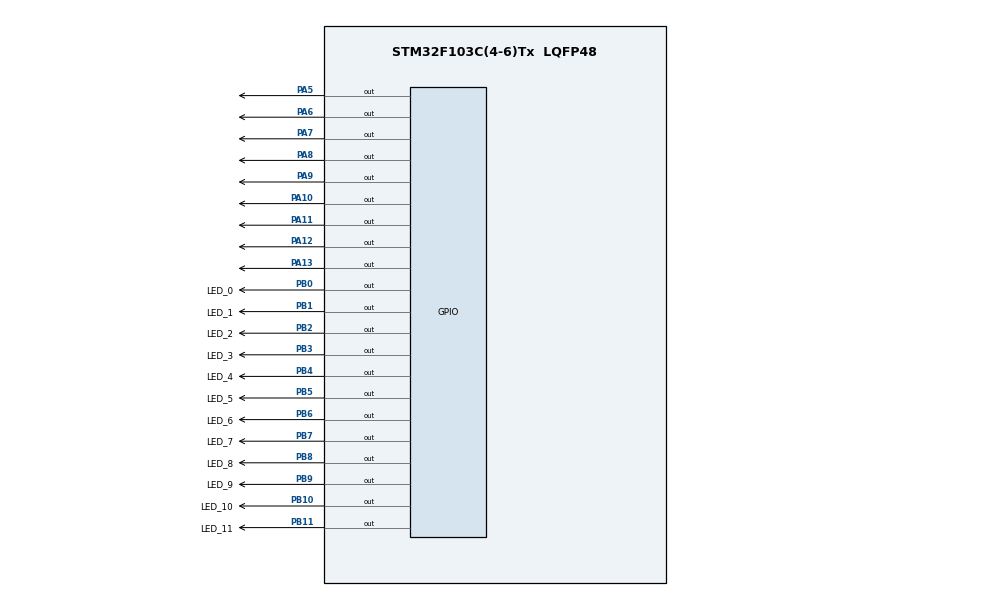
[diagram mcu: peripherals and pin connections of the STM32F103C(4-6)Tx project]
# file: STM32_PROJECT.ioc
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Mcu.Family=STM32F1
Mcu.Name=STM32F103C(4-6)Tx
Mcu.Package=LQFP48
NVIC.PriorityGroup=NVIC_PRIORITYGROUP_4
PA10.Signal=GPIO_Output
PA11.Signal=GPIO_Output
PA12.Signal=GPIO_Output
PA13.Signal=GPIO_Output
PA5.Signal=GPIO_Output
PA6.Signal=GPIO_Output
PA7.Signal=GPIO_Output
PA8.Signal=GPIO_Output
PA9.Signal=GPIO_Output
PB0.GPIO_Label=LED_0
PB0.Signal=GPIO_Output
PB1.GPIO_Label=LED_1
PB1.Signal=GPIO_Output
PB10.GPIO_Label=LED_10
PB10.Signal=GPIO_Output
PB11.GPIO_Label=LED_11
PB11.Signal=GPIO_Output
PB2.GPIO_Label=LED_2
PB2.Signal=GPIO_Output
PB3.GPIO_Label=LED_3
PB3.Signal=GPIO_Output
PB4.GPIO_Label=LED_4
PB4.Signal=GPIO_Output
PB5.GPIO_Label=LED_5
PB5.Signal=GPIO_Output
PB6.GPIO_Label=LED_6
PB6.Signal=GPIO_Output
PB7.GPIO_Label=LED_7
PB7.Signal=GPIO_Output
PB8.GPIO_Label=LED_8
PB8.Signal=GPIO_Output
PB9.GPIO_Label=LED_9
PB9.Signal=GPIO_Output
ProjectManager.HeapSize=0x200
ProjectManager.StackSize=0x400
ProjectManager.TargetToolchain=STM32CubeIDE
RCC.APB1Freq_Value=8000000
RCC.APB2Freq_Value=8000000
VP_SYS_VS_ND.Mode=No_Debug
board=custom

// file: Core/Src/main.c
/* USER CODE BEGIN Header */
/**
  ******************************************************************************
  * @file           : main.c
  * @brief          : Main program body
  ******************************************************************************
  * @attention
  *
  * Copyright (c) 2024 STMicroelectronics.
  * All rights reserved.
  *
  * This software is licensed under terms that can be found in the LICENSE file
  * in the root directory of this software component.
  * If no LICENSE file comes with this software, it is provided AS-IS.
  *
  ******************************************************************************
  */
/* USER CODE END Header */
#include "main.h"

void SystemClock_Config(void);
static void MX_GPIO_Init(void);

/* USER CODE BEGIN 0 */
int hour = 1, min = 59,sec = 0;
int d_hour = 0, d_min = 0, d_sec = 0;
void clearAllClock(){
	HAL_GPIO_WritePin(LED_0_GPIO_Port, LED_0_Pin,RESET);
	HAL_GPIO_WritePin(LED_1_GPIO_Port, LED_1_Pin,RESET);
	HAL_GPIO_WritePin(LED_2_GPIO_Port, LED_2_Pin,RESET);
	HAL_GPIO_WritePin(LED_3_GPIO_Port, LED_3_Pin,RESET);
	HAL_GPIO_WritePin(LED_4_GPIO_Port, LED_4_Pin,RESET);
	HAL_GPIO_WritePin(LED_5_GPIO_Port, LED_5_Pin,RESET);
	HAL_GPIO_WritePin(LED_6_GPIO_Port, LED_6_Pin,RESET);
	HAL_GPIO_WritePin(LED_7_GPIO_Port, LED_7_Pin,RESET);
	HAL_GPIO_WritePin(LED_8_GPIO_Port, LED_8_Pin,RESET);
	HAL_GPIO_WritePin(LED_9_GPIO_Port, LED_9_Pin,RESET);
	HAL_GPIO_WritePin(LED_10_GPIO_Port, LED_10_Pin,RESET);
	HAL_GPIO_WritePin(LED_11_GPIO_Port, LED_11_Pin,RESET);
}
void setNumberOnClock(int num){
	switch(num){
		case 0:
			HAL_GPIO_WritePin(LED_11_GPIO_Port, LED_11_Pin,SET);
			break;
		case 1:
			HAL_GPIO_WritePin(LED_0_GPIO_Port, LED_0_Pin,SET);
			break;
		case 2:
			HAL_GPIO_WritePin(LED_1_GPIO_Port, LED_1_Pin,SET);
			break;
		case 3:
			HAL_GPIO_WritePin(LED_2_GPIO_Port, LED_2_Pin,SET);
			break;
		case 4:
			HAL_GPIO_WritePin(LED_3_GPIO_Port, LED_3_Pin,SET);
			break;
		case 5:
			HAL_GPIO_WritePin(LED_4_GPIO_Port, LED_4_Pin,SET);
			break;
		case 6:
			HAL_GPIO_WritePin(LED_5_GPIO_Port, LED_5_Pin,SET);
			break;
		case 7:
			HAL_GPIO_WritePin(LED_6_GPIO_Port, LED_6_Pin,SET);
			break;
		case 8:
			HAL_GPIO_WritePin(LED_7_GPIO_Port, LED_7_Pin,SET);
			break;
		case 9:
			HAL_GPIO_WritePin(LED_8_GPIO_Port, LED_8_Pin,SET);
			break;
		case 10:
			HAL_GPIO_WritePin(LED_9_GPIO_Port, LED_9_Pin,SET);
			break;
		case 11:
			HAL_GPIO_WritePin(LED_10_GPIO_Port, LED_10_Pin,SET);
			break;
		default:
			break;
	}
}
void clearNumberOnClock(int num){
	switch(num){
			case 0:
				HAL_GPIO_WritePin(LED_0_GPIO_Port, LED_11_Pin,RESET);
				break;
			case 1:
				HAL_GPIO_WritePin(LED_1_GPIO_Port, LED_0_Pin,RESET);
				break;
			case 2:
				HAL_GPIO_WritePin(LED_2_GPIO_Port, LED_1_Pin,RESET);
				break;
			case 3:
				HAL_GPIO_WritePin(LED_3_GPIO_Port, LED_2_Pin,RESET);
				break;
			case 4:
				HAL_GPIO_WritePin(LED_4_GPIO_Port, LED_3_Pin,RESET);
				break;
			case 5:
				HAL_GPIO_WritePin(LED_5_GPIO_Port, LED_4_Pin,RESET);
				break;
			case 6:
				HAL_GPIO_WritePin(LED_6_GPIO_Port, LED_5_Pin,RESET);
				break;
			case 7:
				HAL_GPIO_WritePin(LED_7_GPIO_Port, LED_6_Pin,RESET);
				break;
			case 8:
				HAL_GPIO_WritePin(LED_8_GPIO_Port, LED_7_Pin,RESET);
				break;
			case 9:
				HAL_GPIO_WritePin(LED_9_GPIO_Port, LED_8_Pin,RESET);
				break;
			case 10:
				HAL_GPIO_WritePin(LED_10_GPIO_Port, LED_9_Pin,RESET);
				break;
			case 11:
				HAL_GPIO_WritePin(LED_11_GPIO_Port, LED_10_Pin,RESET);
				break;
			default:
				break;
		}
}
void init_exercise10(){
	d_sec = sec/5;
	d_min = min/5;
	d_hour = hour%12;
	setNumberOnClock(d_sec);
	setNumberOnClock(d_min);
	setNumberOnClock(d_hour);
}
void exercise10_run(){
	sec++;
	if(sec>=60){
		sec = 0;
		min++;
	}
	if(min>=60){
		min = 0;
		hour++;
	}
	if(hour>=24){
		hour = 0;
	}
	if((d_sec == (sec/5)-1)||(sec==0)){
		if((d_sec != d_min)&&(d_sec != d_hour)){
			clearNumberOnClock(d_sec);
		}
		d_sec = sec/5;
	}
	if((d_min == (min/5)-1)||(min==0)){
			if((d_min != d_hour)&&(d_min!=d_hour)){
				clearNumberOnClock(d_min);
			}
			d_min = min/5;
		}
	if((d_hour == (hour%12)-1)||(hour == 0)){
			if((d_hour != d_min)&&(d_hour != d_sec)){
				clearNumberOnClock(d_hour);
			}
			d_hour = hour%12;
		}
	setNumberOnClock(d_sec);
	setNumberOnClock(d_min);
	setNumberOnClock(d_hour);
}
/* USER CODE END 0 */

int main(void)
{

  /* MCU Configuration--------------------------------------------------------*/

  /* Reset of all peripherals, Initializes the Flash interface and the Systick. */
  HAL_Init();

  /* Configure the system clock */
  SystemClock_Config();

  /* Initialize all configured peripherals */
  MX_GPIO_Init();

  /* Infinite loop */
  /* USER CODE BEGIN WHILE */
  init_exercise10();
  while (1)
  {
    /* USER CODE END WHILE */

    /* USER CODE BEGIN 3 */
	  exercise10_run();
	  HAL_Delay(100);
  }
  /* USER CODE END 3 */
}

void SystemClock_Config(void)
{
  RCC_OscInitTypeDef RCC_OscInitStruct = {0};
  RCC_ClkInitTypeDef RCC_ClkInitStruct = {0};

  /** Initializes the RCC Oscillators according to the specified parameters
  * in the RCC_OscInitTypeDef structure.
  */
  RCC_OscInitStruct.OscillatorType = RCC_OSCILLATORTYPE_HSI;
  RCC_OscInitStruct.HSIState = RCC_HSI_ON;
  RCC_OscInitStruct.HSICalibrationValue = RCC_HSICALIBRATION_DEFAULT;
  RCC_OscInitStruct.PLL.PLLState = RCC_PLL_NONE;
  if (HAL_RCC_OscConfig(&RCC_OscInitStruct) != HAL_OK)
  {
    Error_Handler();
  }

  /** Initializes the CPU, AHB and APB buses clocks
  */
  RCC_ClkInitStruct.ClockType = RCC_CLOCKTYPE_HCLK|RCC_CLOCKTYPE_SYSCLK
                              |RCC_CLOCKTYPE_PCLK1|RCC_CLOCKTYPE_PCLK2;
  RCC_ClkInitStruct.SYSCLKSource = RCC_SYSCLKSOURCE_HSI;
  RCC_ClkInitStruct.AHBCLKDivider = RCC_SYSCLK_DIV1;
  RCC_ClkInitStruct.APB1CLKDivider = RCC_HCLK_DIV1;
  RCC_ClkInitStruct.APB2CLKDivider = RCC_HCLK_DIV1;

  if (HAL_RCC_ClockConfig(&RCC_ClkInitStruct, FLASH_LATENCY_0) != HAL_OK)
  {
    Error_Handler();
  }
}

static void MX_GPIO_Init(void)
{
  GPIO_InitTypeDef GPIO_InitStruct = {0};

  /* GPIO Ports Clock Enable */
  __HAL_RCC_GPIOA_CLK_ENABLE();
  __HAL_RCC_GPIOB_CLK_ENABLE();

  /*Configure GPIO pin Output Level */
  HAL_GPIO_WritePin(GPIOA, GPIO_PIN_5|GPIO_PIN_6|GPIO_PIN_7|GPIO_PIN_8
                          |GPIO_PIN_9|GPIO_PIN_10|GPIO_PIN_11|GPIO_PIN_12
                          |GPIO_PIN_13, GPIO_PIN_RESET);

  /*Configure GPIO pin Output Level */
  HAL_GPIO_WritePin(GPIOB, LED_0_Pin|LED_1_Pin|LED_2_Pin|LED_10_Pin
                          |LED_11_Pin|LED_3_Pin|LED_4_Pin|LED_5_Pin
                          |LED_6_Pin|LED_7_Pin|LED_8_Pin|LED_9_Pin, GPIO_PIN_RESET);

  /*Configure GPIO pins : PA5 PA6 PA7 PA8
                           PA9 PA10 PA11 PA12
                           PA13 */
  GPIO_InitStruct.Pin = GPIO_PIN_5|GPIO_PIN_6|GPIO_PIN_7|GPIO_PIN_8
                          |GPIO_PIN_9|GPIO_PIN_10|GPIO_PIN_11|GPIO_PIN_12
                          |GPIO_PIN_13;
  GPIO_InitStruct.Mode = GPIO_MODE_OUTPUT_PP;
  GPIO_InitStruct.Pull = GPIO_NOPULL;
  GPIO_InitStruct.Speed = GPIO_SPEED_FREQ_LOW;
  HAL_GPIO_Init(GPIOA, &GPIO_InitStruct);

  /*Configure GPIO pins : LED_0_Pin LED_1_Pin LED_2_Pin LED_10_Pin
                           LED_11_Pin LED_3_Pin LED_4_Pin LED_5_Pin
                           LED_6_Pin LED_7_Pin LED_8_Pin LED_9_Pin */
  GPIO_InitStruct.Pin = LED_0_Pin|LED_1_Pin|LED_2_Pin|LED_10_Pin
                          |LED_11_Pin|LED_3_Pin|LED_4_Pin|LED_5_Pin
                          |LED_6_Pin|LED_7_Pin|LED_8_Pin|LED_9_Pin;
  GPIO_InitStruct.Mode = GPIO_MODE_OUTPUT_PP;
  GPIO_InitStruct.Pull = GPIO_NOPULL;
  GPIO_InitStruct.Speed = GPIO_SPEED_FREQ_LOW;
  HAL_GPIO_Init(GPIOB, &GPIO_InitStruct);

}

void Error_Handler(void)
{
  __disable_irq();
  while (1)
  {
  }
}
